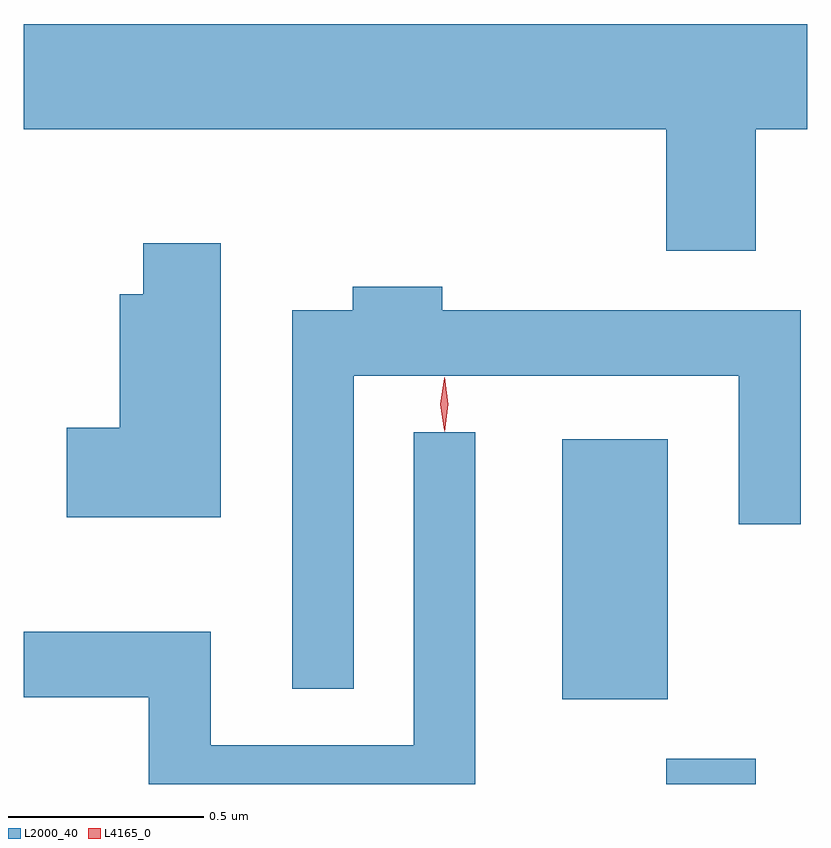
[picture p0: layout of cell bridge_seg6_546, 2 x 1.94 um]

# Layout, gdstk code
import gdstk
lib = gdstk.Library(unit=1e-6, precision=1e-09)
def R(c, l, rs):  # rectangles x0, y0, x1, y1
    for r in rs: c.add(gdstk.rectangle(r[:2], r[2:], *l))
def P(c, l, *ps):  # polygons
    for p in ps: c.add(gdstk.Polygon(p, *l))
L2000_40 = (2000, 40)
L4165_0 = (4165, 0)

bridge_seg6_546 = lib.new_cell('bridge_seg6_546')
R(bridge_seg6_546, L2000_40, [(553.701,1634.945,553.929,1635.009), (553.436,1635.161,553.704,1635.824)])
P(bridge_seg6_546, L2000_40, [(553.929,1636.616),(554.061,1636.616),(554.061,1636.884),(552.061,1636.884),(552.061,1636.616),(553.701,1636.616),(553.701,1636.306),(553.929,1636.306)],
  [(552.564,1636.324),(552.366,1636.324),(552.366,1636.194),(552.306,1636.194),(552.306,1635.854),(552.171,1635.854),(552.171,1635.626),(552.564,1635.626)],
  [(552.904,1635.986),(553.886,1635.986),(553.886,1635.608),(554.044,1635.608),(554.044,1636.154),(553.129,1636.154),(553.129,1636.214),(552.901,1636.214),(552.901,1636.154),(552.746,1636.154),(552.746,1635.188),(552.904,1635.188)],
  [(553.214,1635.843),(553.056,1635.843),(553.056,1635.044),(552.539,1635.044),(552.539,1635.334),(552.061,1635.334),(552.061,1635.166),(552.381,1635.166),(552.381,1634.945),(553.214,1634.945)])
P(bridge_seg6_546, L4165_0, [(553.134,1635.847),(553.134,1635.848),(553.124,1635.914),(553.134,1635.98),(553.134,1635.981),(553.135,1635.98),(553.144,1635.914),(553.135,1635.848)],
  [(553.135,1635.844),(553.135,1635.844),(553.125,1635.914),(553.135,1635.983),(553.135,1635.983),(553.136,1635.983),(553.145,1635.914),(553.136,1635.844)])

lib.write_gds('bridge_seg6_546.gds')
